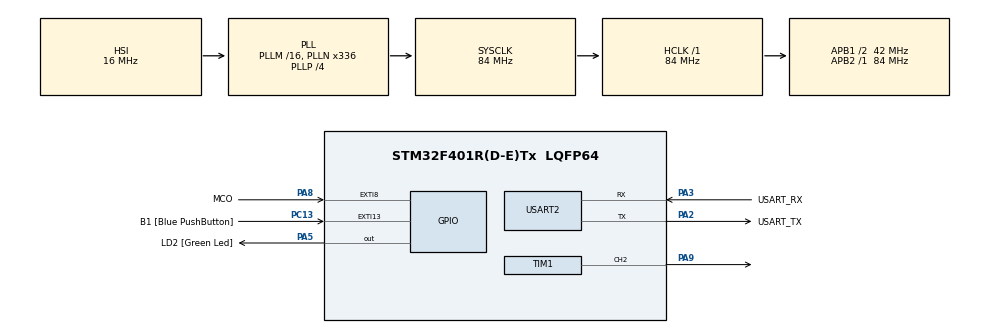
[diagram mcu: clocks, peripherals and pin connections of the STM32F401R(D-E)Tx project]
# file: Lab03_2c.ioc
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Mcu.Family=STM32F4
Mcu.Name=STM32F401R(D-E)Tx
Mcu.Package=LQFP64
NVIC.EXTI9_5_IRQn=true\:0\:0\:true\:false\:true\:true\:true\:true
NVIC.PriorityGroup=NVIC_PRIORITYGROUP_4
NVIC.TIM2_IRQn=true\:0\:0\:true\:false\:true\:true\:true\:true
PA13.GPIO_Label=TMS
PA13.Mode=Trace_Asynchronous_SW
PA13.Signal=SYS_JTMS-SWDIO
PA14.GPIO_Label=TCK
PA14.Mode=Trace_Asynchronous_SW
PA14.Signal=SYS_JTCK-SWCLK
PA2.GPIO_Label=USART_TX
PA2.GPIO_Mode=GPIO_MODE_AF_PP
PA2.GPIO_PuPd=GPIO_NOPULL
PA2.GPIO_Speed=GPIO_SPEED_FREQ_LOW
PA2.Mode=Asynchronous
PA2.Signal=USART2_TX
PA3.GPIO_Label=USART_RX
PA3.GPIO_Mode=GPIO_MODE_AF_PP
PA3.GPIO_PuPd=GPIO_NOPULL
PA3.GPIO_Speed=GPIO_SPEED_FREQ_LOW
PA3.Mode=Asynchronous
PA3.Signal=USART2_RX
PA5.GPIO_Label=LD2 [Green Led]
PA5.GPIO_Mode=GPIO_MODE_OUTPUT_PP
PA5.GPIO_PuPd=GPIO_NOPULL
PA5.GPIO_Speed=GPIO_SPEED_FREQ_LOW
PA5.Signal=GPIO_Output
PA8.GPIO_Label=MCO
PA8.GPIO_ModeDefaultEXTI=GPIO_MODE_IT_RISING_FALLING
PA8.GPIO_PuPd=GPIO_NOPULL
PA8.Signal=GPXTI8
PA9.Signal=S_TIM1_CH2
PB3.GPIO_Label=SWO
PB3.Mode=Trace_Asynchronous_SW
PB3.Signal=SYS_JTDO-SWO
PC13-ANTI_TAMP.GPIO_Label=B1 [Blue PushButton]
PC13-ANTI_TAMP.GPIO_ModeDefaultEXTI=GPIO_MODE_IT_FALLING
PC13-ANTI_TAMP.GPIO_PuPd=GPIO_NOPULL
PC13-ANTI_TAMP.Signal=GPXTI13
PC14-OSC32_IN.Mode=LSE-External-Oscillator
PC14-OSC32_IN.Signal=RCC_OSC32_IN
PC15-OSC32_OUT.Mode=LSE-External-Oscillator
PC15-OSC32_OUT.Signal=RCC_OSC32_OUT
PH0\ -\ OSC_IN.Mode=HSE-External-Clock-Source
PH0\ -\ OSC_IN.Signal=RCC_OSC_IN
PH1\ -\ OSC_OUT.Mode=HSE-External-Clock-Source
PH1\ -\ OSC_OUT.Signal=RCC_OSC_OUT
ProjectManager.HeapSize=0x200
ProjectManager.StackSize=0x400
ProjectManager.TargetToolchain=STM32CubeIDE
RCC.48MHZClocksFreq_Value=48000000
RCC.AHBFreq_Value=84000000
RCC.APB1CLKDivider=RCC_HCLK_DIV2
RCC.APB1Freq_Value=42000000
RCC.APB1TimFreq_Value=84000000
RCC.APB2Freq_Value=84000000
RCC.APB2TimFreq_Value=84000000
RCC.CortexFreq_Value=84000000
RCC.HCLKFreq_Value=84000000
RCC.HSE_VALUE=8000000
RCC.HSI_VALUE=16000000
RCC.PLLN=336
RCC.PLLP=RCC_PLLP_DIV4
RCC.PLLQ=7
RCC.SYSCLKFreq_VALUE=84000000
RCC.SYSCLKSource=RCC_SYSCLKSOURCE_PLLCLK
RCC.VCOOutputFreq_Value=336000000
SH.S_TIM1_CH2.0=TIM1_CH2,PWM Generation2 CH2
TIM1.Channel-PWM\ Generation2\ CH2=TIM_CHANNEL_2
TIM1.Period=1909
TIM1.Prescaler=99
TIM1.Pulse-PWM\ Generation2\ CH2=954
TIM2.Period=209999
TIM2.Prescaler=99
USART2.VirtualMode=VM_ASYNC
VP_TIM1_VS_ClockSourceINT.Mode=Internal
VP_TIM2_VS_ClockSourceINT.Mode=Internal
board=NUCLEO-F401RE

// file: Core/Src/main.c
/* USER CODE BEGIN Header */
/**
  ******************************************************************************
  * @file           : main.c
  * @brief          : Main program body
  ******************************************************************************
  * @attention
  *
  * Copyright (c) 2026 STMicroelectronics.
  * All rights reserved.
  *
  * This software is licensed under terms that can be found in the LICENSE file
  * in the root directory of this software component.
  * If no LICENSE file comes with this software, it is provided AS-IS.
  *
  ******************************************************************************
  */
/* USER CODE END Header */
#include "main.h"

/* USER CODE BEGIN PTD */
// Definiamo una struttura "Note"
typedef struct {
    int Period;
    int Duration;
} Note;

/* USER CODE END PTD */

/* USER CODE BEGIN PD */
#define PeriodD0 3205
#define PeriodRE 2856
#define PeriodMI 2544
#define PeriodFA 2405
#define PeriodSOL 2141
#define PeriodLA 1908
#define PeriodSI 1699

#define PORT_MCO GPIOA
#define PIN_MCO GPIO_PIN_8

#define DEBOUNCE_MS 500

/* USER CODE END PD */

TIM_HandleTypeDef htim1;
TIM_HandleTypeDef htim2;

UART_HandleTypeDef huart2;

/* USER CODE BEGIN PV */
int i=0;
int ticks=0;
uint32_t duration_note=5; // valore a caso
uint32_t last_end_tick = 0;
volatile uint8_t playing = 0; // flag
Note Song[] = {
    {PeriodSOL, 3},
    {PeriodLA, 1},
    {PeriodSOL, 2},
    {PeriodFA, 2},
    {PeriodMI, 2},
    {PeriodFA, 2},
    {PeriodSOL, 3}
};
// DICHIARAZIONE GLOBALE PER LA CONFIGURAZIONE PWM (CRITICO!)
TIM_OC_InitTypeDef sConfigOC = {0};

/* USER CODE END PV */

void SystemClock_Config(void);
static void MX_GPIO_Init(void);
static void MX_USART2_UART_Init(void);
static void MX_TIM1_Init(void);
static void MX_TIM2_Init(void);
/* USER CODE BEGIN PFP */
void play_note(uint32_t Period, uint32_t Duration);
/* USER CODE END PFP */

/* USER CODE BEGIN 0 */
void HAL_GPIO_EXTI_Callback(uint16_t GPIO_Pin)
{
    HAL_GPIO_TogglePin(GPIOA, GPIO_PIN_5);
	if (GPIO_Pin == PIN_MCO && !playing && (HAL_GetTick() - last_end_tick > DEBOUNCE_MS))
    {
        playing = 1;
        i = 0;
        play_note(Song[i].Period, Song[i].Duration);
        HAL_TIM_Base_Start_IT(&htim2);
    }
}

void HAL_TIM_PeriodElapsedCallback(TIM_HandleTypeDef *htim)
{
	if(htim->Instance == TIM2 && playing){
		ticks+=1;
		if(ticks==duration_note){
			i+=1;
			if(i==sizeof(Song)/sizeof(Song[0])){
				HAL_TIM_PWM_Stop(&htim1, TIM_CHANNEL_2);
				HAL_TIM_Base_Stop_IT(&htim2);
				playing = 0;
				last_end_tick = HAL_GetTick();
			}else{
				play_note(Song[i].Period, Song[i].Duration);
			}
		}
	}
}

void play_note(uint32_t Period, uint32_t Duration){
    duration_note=Duration;
    ticks=0;

	// Aggiorna il Periodo (frequenza) nel registro del Timer
    // L'unica variabile da ri-inizializzare è quella di base (più veloce di HAL_TIM_Base_Init)
    // Usiamo una macro veloce che accede direttamente al registro
    __HAL_TIM_SET_AUTORELOAD(&htim1, Period - 1);

    // Aggiorna il Pulse (Duty Cycle) nella struct sConfigOC
    sConfigOC.OCMode = TIM_OCMODE_PWM1; // Modalità PWM
    sConfigOC.Pulse = Period / 2;       // Duty cycle al 50%
    sConfigOC.OCPolarity = TIM_OCPOLARITY_HIGH;
    sConfigOC.OCFastMode = TIM_OCFAST_DISABLE;

    // Applica la nuova configurazione del canale
    if (HAL_TIM_PWM_ConfigChannel(&htim1, &sConfigOC, TIM_CHANNEL_2) != HAL_OK)
    {
        Error_Handler();
    }

    // Fai suonare nota
	HAL_TIM_PWM_Start(&htim1, TIM_CHANNEL_2);
}

/* USER CODE END 0 */

int main(void)
{

  /* MCU Configuration--------------------------------------------------------*/

  /* Reset of all peripherals, Initializes the Flash interface and the Systick. */
  HAL_Init();

  /* Configure the system clock */
  SystemClock_Config();

  /* Initialize all configured peripherals */
  MX_GPIO_Init();
  MX_USART2_UART_Init();
  MX_TIM1_Init();
  MX_TIM2_Init();

  /* Infinite loop */
  while (1)
  {

    /* USER CODE BEGIN 3 */
	  //HAL_GPIO_WritePin(GPIOA, GPIO_PIN_5, HAL_GPIO_ReadPin(PORT_MCO, PIN_MCO));
  }
  /* USER CODE END 3 */
}

void SystemClock_Config(void)
{
  RCC_OscInitTypeDef RCC_OscInitStruct = {0};
  RCC_ClkInitTypeDef RCC_ClkInitStruct = {0};

  /** Configure the main internal regulator output voltage
  */
  __HAL_RCC_PWR_CLK_ENABLE();
  __HAL_PWR_VOLTAGESCALING_CONFIG(PWR_REGULATOR_VOLTAGE_SCALE2);

  /** Initializes the RCC Oscillators according to the specified parameters
  * in the RCC_OscInitTypeDef structure.
  */
  RCC_OscInitStruct.OscillatorType = RCC_OSCILLATORTYPE_HSI;
  RCC_OscInitStruct.HSIState = RCC_HSI_ON;
  RCC_OscInitStruct.HSICalibrationValue = RCC_HSICALIBRATION_DEFAULT;
  RCC_OscInitStruct.PLL.PLLState = RCC_PLL_ON;
  RCC_OscInitStruct.PLL.PLLSource = RCC_PLLSOURCE_HSI;
  RCC_OscInitStruct.PLL.PLLM = 16;
  RCC_OscInitStruct.PLL.PLLN = 336;
  RCC_OscInitStruct.PLL.PLLP = RCC_PLLP_DIV4;
  RCC_OscInitStruct.PLL.PLLQ = 7;
  if (HAL_RCC_OscConfig(&RCC_OscInitStruct) != HAL_OK)
  {
    Error_Handler();
  }

  /** Initializes the CPU, AHB and APB buses clocks
  */
  RCC_ClkInitStruct.ClockType = RCC_CLOCKTYPE_HCLK|RCC_CLOCKTYPE_SYSCLK
                              |RCC_CLOCKTYPE_PCLK1|RCC_CLOCKTYPE_PCLK2;
  RCC_ClkInitStruct.SYSCLKSource = RCC_SYSCLKSOURCE_PLLCLK;
  RCC_ClkInitStruct.AHBCLKDivider = RCC_SYSCLK_DIV1;
  RCC_ClkInitStruct.APB1CLKDivider = RCC_HCLK_DIV2;
  RCC_ClkInitStruct.APB2CLKDivider = RCC_HCLK_DIV1;

  if (HAL_RCC_ClockConfig(&RCC_ClkInitStruct, FLASH_LATENCY_2) != HAL_OK)
  {
    Error_Handler();
  }
}

static void MX_TIM1_Init(void)
{

  TIM_ClockConfigTypeDef sClockSourceConfig = {0};
  TIM_MasterConfigTypeDef sMasterConfig = {0};
  TIM_OC_InitTypeDef sConfigOC = {0};
  TIM_BreakDeadTimeConfigTypeDef sBreakDeadTimeConfig = {0};

  htim1.Instance = TIM1;
  htim1.Init.Prescaler = 99;
  htim1.Init.CounterMode = TIM_COUNTERMODE_UP;
  htim1.Init.Period = 1909;
  htim1.Init.ClockDivision = TIM_CLOCKDIVISION_DIV1;
  htim1.Init.RepetitionCounter = 0;
  htim1.Init.AutoReloadPreload = TIM_AUTORELOAD_PRELOAD_DISABLE;
  if (HAL_TIM_Base_Init(&htim1) != HAL_OK)
  {
    Error_Handler();
  }
  sClockSourceConfig.ClockSource = TIM_CLOCKSOURCE_INTERNAL;
  if (HAL_TIM_ConfigClockSource(&htim1, &sClockSourceConfig) != HAL_OK)
  {
    Error_Handler();
  }
  if (HAL_TIM_PWM_Init(&htim1) != HAL_OK)
  {
    Error_Handler();
  }
  sMasterConfig.MasterOutputTrigger = TIM_TRGO_RESET;
  sMasterConfig.MasterSlaveMode = TIM_MASTERSLAVEMODE_DISABLE;
  if (HAL_TIMEx_MasterConfigSynchronization(&htim1, &sMasterConfig) != HAL_OK)
  {
    Error_Handler();
  }
  sConfigOC.OCMode = TIM_OCMODE_PWM1;
  sConfigOC.Pulse = 954;
  sConfigOC.OCPolarity = TIM_OCPOLARITY_HIGH;
  sConfigOC.OCNPolarity = TIM_OCNPOLARITY_HIGH;
  sConfigOC.OCFastMode = TIM_OCFAST_DISABLE;
  sConfigOC.OCIdleState = TIM_OCIDLESTATE_RESET;
  sConfigOC.OCNIdleState = TIM_OCNIDLESTATE_RESET;
  if (HAL_TIM_PWM_ConfigChannel(&htim1, &sConfigOC, TIM_CHANNEL_2) != HAL_OK)
  {
    Error_Handler();
  }
  sBreakDeadTimeConfig.OffStateRunMode = TIM_OSSR_DISABLE;
  sBreakDeadTimeConfig.OffStateIDLEMode = TIM_OSSI_DISABLE;
  sBreakDeadTimeConfig.LockLevel = TIM_LOCKLEVEL_OFF;
  sBreakDeadTimeConfig.DeadTime = 0;
  sBreakDeadTimeConfig.BreakState = TIM_BREAK_DISABLE;
  sBreakDeadTimeConfig.BreakPolarity = TIM_BREAKPOLARITY_HIGH;
  sBreakDeadTimeConfig.AutomaticOutput = TIM_AUTOMATICOUTPUT_DISABLE;
  if (HAL_TIMEx_ConfigBreakDeadTime(&htim1, &sBreakDeadTimeConfig) != HAL_OK)
  {
    Error_Handler();
  }
  HAL_TIM_MspPostInit(&htim1);

}

static void MX_TIM2_Init(void)
{

  TIM_ClockConfigTypeDef sClockSourceConfig = {0};
  TIM_MasterConfigTypeDef sMasterConfig = {0};

  htim2.Instance = TIM2;
  htim2.Init.Prescaler = 99;
  htim2.Init.CounterMode = TIM_COUNTERMODE_UP;
  htim2.Init.Period = 209999;
  htim2.Init.ClockDivision = TIM_CLOCKDIVISION_DIV1;
  htim2.Init.AutoReloadPreload = TIM_AUTORELOAD_PRELOAD_DISABLE;
  if (HAL_TIM_Base_Init(&htim2) != HAL_OK)
  {
    Error_Handler();
  }
  sClockSourceConfig.ClockSource = TIM_CLOCKSOURCE_INTERNAL;
  if (HAL_TIM_ConfigClockSource(&htim2, &sClockSourceConfig) != HAL_OK)
  {
    Error_Handler();
  }
  sMasterConfig.MasterOutputTrigger = TIM_TRGO_RESET;
  sMasterConfig.MasterSlaveMode = TIM_MASTERSLAVEMODE_DISABLE;
  if (HAL_TIMEx_MasterConfigSynchronization(&htim2, &sMasterConfig) != HAL_OK)
  {
    Error_Handler();
  }

}

static void MX_USART2_UART_Init(void)
{

  huart2.Instance = USART2;
  huart2.Init.BaudRate = 115200;
  huart2.Init.WordLength = UART_WORDLENGTH_8B;
  huart2.Init.StopBits = UART_STOPBITS_1;
  huart2.Init.Parity = UART_PARITY_NONE;
  huart2.Init.Mode = UART_MODE_TX_RX;
  huart2.Init.HwFlowCtl = UART_HWCONTROL_NONE;
  huart2.Init.OverSampling = UART_OVERSAMPLING_16;
  if (HAL_UART_Init(&huart2) != HAL_OK)
  {
    Error_Handler();
  }

}

static void MX_GPIO_Init(void)
{
  GPIO_InitTypeDef GPIO_InitStruct = {0};

  /* GPIO Ports Clock Enable */
  __HAL_RCC_GPIOC_CLK_ENABLE();
  __HAL_RCC_GPIOH_CLK_ENABLE();
  __HAL_RCC_GPIOA_CLK_ENABLE();
  __HAL_RCC_GPIOB_CLK_ENABLE();

  /*Configure GPIO pin Output Level */
  HAL_GPIO_WritePin(LD2_GPIO_Port, LD2_Pin, GPIO_PIN_RESET);

  /*Configure GPIO pin : B1_Pin */
  GPIO_InitStruct.Pin = B1_Pin;
  GPIO_InitStruct.Mode = GPIO_MODE_IT_FALLING;
  GPIO_InitStruct.Pull = GPIO_NOPULL;
  HAL_GPIO_Init(B1_GPIO_Port, &GPIO_InitStruct);

  /*Configure GPIO pin : LD2_Pin */
  GPIO_InitStruct.Pin = LD2_Pin;
  GPIO_InitStruct.Mode = GPIO_MODE_OUTPUT_PP;
  GPIO_InitStruct.Pull = GPIO_NOPULL;
  GPIO_InitStruct.Speed = GPIO_SPEED_FREQ_LOW;
  HAL_GPIO_Init(LD2_GPIO_Port, &GPIO_InitStruct);

  /*Configure GPIO pin : MCO_Pin */
  GPIO_InitStruct.Pin = MCO_Pin;
  GPIO_InitStruct.Mode = GPIO_MODE_IT_RISING_FALLING;
  GPIO_InitStruct.Pull = GPIO_NOPULL;
  HAL_GPIO_Init(MCO_GPIO_Port, &GPIO_InitStruct);

  /* EXTI interrupt init*/
  HAL_NVIC_SetPriority(EXTI9_5_IRQn, 0, 0);
  HAL_NVIC_EnableIRQ(EXTI9_5_IRQn);

}

void Error_Handler(void)
{
  __disable_irq();
  while (1)
  {
  }
}
